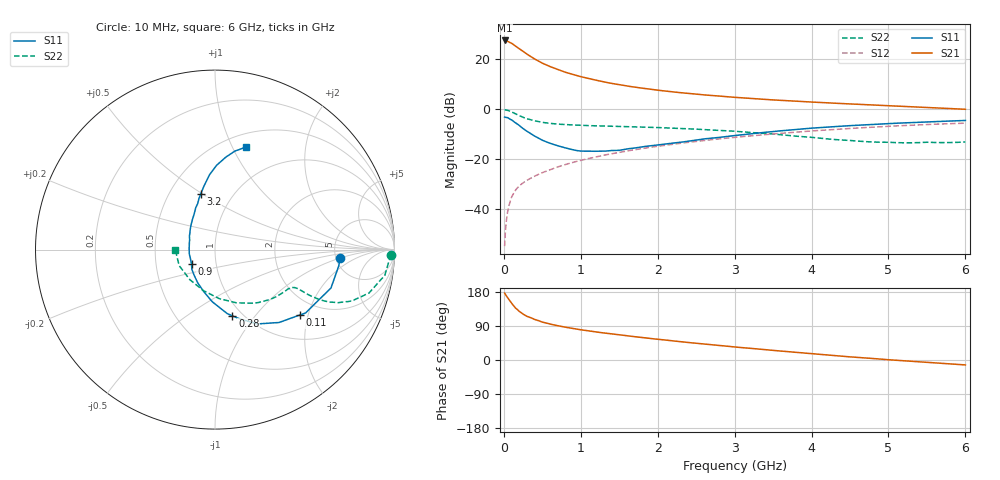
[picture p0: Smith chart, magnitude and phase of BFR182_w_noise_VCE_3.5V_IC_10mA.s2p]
! Infineon Technologies  Discrete & RF Semiconductors
! BFR182
! VCE =  3.5 V,  IC =  10 mA
! Common Emitter S-Parameters:  Nov 2015
# GHz  S  MA  R  50
!  f  S11  S21  S12  S22
! GHz  MAG  ANG  MAG  ANG  MAG  ANG  MAG  ANG
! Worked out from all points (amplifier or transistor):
!   210 points, 10 MHz to 6 GHz, reference 50 ohm
!   highest |S21| = 27.6 dB at 10 MHz (marker M1)
!   |S21| within 3 dB of that: start of sweep to 186 MHz
!   unconditionally stable (mu >= 1): 795.4 MHz to 2.645 GHz
!   at 185 MHz: K = 0.51, MSG = 27.9 dB, |S12| = -31.2 dB
!   at 1.52 GHz: K = 1.05, MAG = 12.1 dB, |S12| = -17.1 dB
!   at 6 GHz: K = 0.89, MSG = 2.8 dB, |S12| = -5.5 dB
!   lowest NFmin = 1.50 dB at 450 MHz
!   S11 on the Smith chart (normalised r, x): 10 MHz: 5.44, -1.04; 110 MHz: 1.57, -1.78; 280 MHz: 0.90, -0.77; 900 MHz: 0.76, -0.13; 3.2 GHz: 0.71, +0.50; 6 GHz: 0.64, +1.14
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0.01  0.6988 -4.0  24.07 176.5  0.0018 82.5  0.9822 -1.7
0.05  0.6808 -18.3  23.13 163.9  0.0089 81.5  0.957 -8.6
0.1  0.6158 -35.0  21.26 149.8  0.0172 75.7  0.892 -15.7
0.11  0.5981 -37.5  20.67 147.6  0.0185 74.1  0.876 -16.6
0.15  0.5401 -48.8  18.69 137.5  0.0238 69.6  0.8146 -20.6
0.2  0.4766 -60.3  16.46 128.4  0.0291 68.4  0.7476 -23.3
0.24  0.4227 -68.1  14.83 122.6  0.0326 66.4  0.7018 -24.6
0.28  0.3812 -75.3  13.41 117.7  0.036 66.3  0.6637 -25.3
0.3  0.3635 -79.1  12.74 115.3  0.0376 66.4  0.646 -25.6
0.4  0.2915 -92.9  10.24 107.1  0.0456 66.6  0.588 -25.8
0.5  0.2404 -105.6  8.436 100.0  0.0536 67.0  0.5485 -25.6
0.6  0.2086 -117.5  7.221 94.8  0.0614 67.8  0.5225 -25.3
0.7  0.1863 -128.1  6.292 90.4  0.0699 68.4  0.5056 -25.3
0.9  0.1543 -147.9  4.972 83.0  0.0865 68.2  0.4857 -25.8
1.02  0.145 -162.2  4.447 79.3  0.0964 68.2  0.4766 -26.4
1.4  0.1493 163.5  3.312 68.8  0.1283 67.4  0.4572 -29.8
2.02  0.194 133.1  2.402 54.3  0.1835 63.4  0.4301 -37.6
3.1  0.3096 105.7  1.699 32.7  0.2833 53.8  0.3535 -57.5
3.2  0.3216 104.1  1.658 31.0  0.2926 52.7  0.3441 -59.9
4.1  0.4291 92.9  1.375 15.1  0.377 42.9  0.2644 -88.6
5.1  0.5261 82.4  1.165 -0.6  0.465 30.6  0.2149 -135.0
6  0.5983 73.0  1.003 -13.0  0.5282 18.3  0.2214 179.9
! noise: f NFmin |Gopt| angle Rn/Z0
0.45  1.5  0.26  43  0.28
0.9  1.6  0.24  87  0.22
1.8  2.1  0.2  170  0.2
